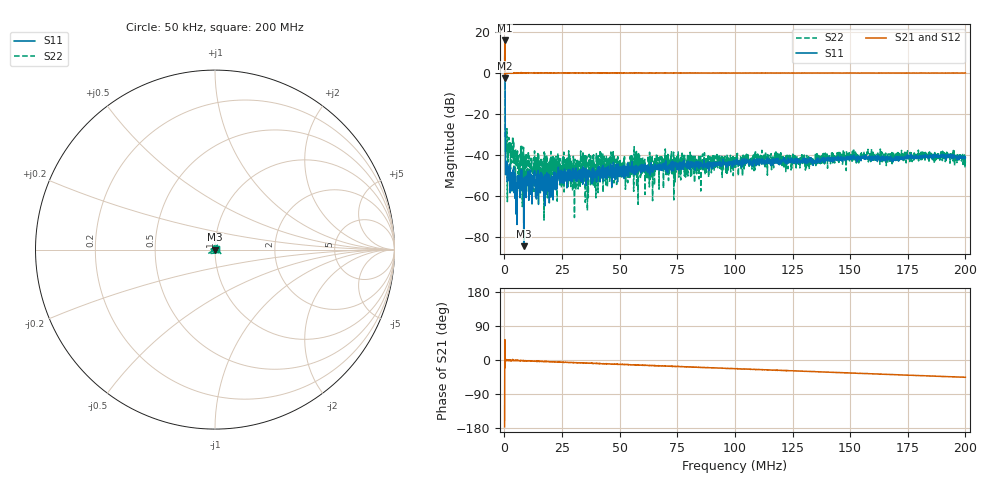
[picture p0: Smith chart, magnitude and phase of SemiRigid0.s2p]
! 19-Feb-26 1:38:01 PM
! E:\VNA_MEASUREMENTS\RECBLOCK\SEMIRIGID0.S2P
! CHANNEL.1
! TR.MEASUREMENT
! CORRECTED.DATA
# GHZ S RI R 50.0
! FREQ.GHZ  S11RE  S11IM  S21RE  S21IM  S12RE  S12IM  S22RE  S22IM
!; PortSelection: Port_12
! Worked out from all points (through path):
!   2000 points, 50 kHz to 200 MHz, reference 50 ohm
!   highest |S21| = 15.81 dB at 150 kHz (marker M1); lowest = -2.7 dB at 50 kHz (marker M2)
!   lowest |S11| = -84.4 dB at 8.352 MHz (marker M3), VSWR 1.00, Z = 50 - j0.00572 ohm
!   |S11| at or under -10 dB: 281.7 kHz to end of sweep
!   |S22| runs from -71.7 to 12.6 dB; largest |S21 - S12| = 5.8
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5e-05  -0.9372 1.019  -0.7347 -0.046  0.0916 -0.5591  -0.2835 -1.33
0.000150025  -0.9212 1.055  3.633 4.988  0.0489 0.435  0.2589 4.237
0.001150275  0.00344 0.00102  1.02 0.00988  0.9993 -0.00268  0.0129 0.0103
0.0012503  3.05e-05 -0.00224  1.001 -0.00636  0.9995 -0.0125  0.00054 -0.000502
0.00145035  0.000453 -0.00256  1.001 -0.0181  0.9984 -0.0107  0.000149 -0.0086
0.005551376  0.000923 -0.000779  0.9922 -0.0279  0.9954 -0.0267  -0.00537 -0.000314
0.006651651  0.000641 0.00127  0.9932 -0.0373  0.9999 -0.0283  -0.00561 -0.00339
0.008352076  -2e-05 -5.72e-05  0.9916 -0.0294  0.9961 -0.036  -0.00106 0.00647
0.02755688  0.0021 0.00124  0.9862 -0.1104  0.9929 -0.1132  0.0046 0.00594
0.03185795  0.00181 0.0025  0.9878 -0.1312  0.9883 -0.129  0.00191 0.00524
0.03345835  0.000715 0.00263  0.9926 -0.1275  0.99 -0.1336  0.00266 -0.00188
0.03475868  0.0023 0.00363  0.9943 -0.1431  0.9875 -0.1378  -0.00226 0.00369
0.0356589  0.00272 0.00258  0.983 -0.129  0.9871 -0.1445  0.00845 -0.00422
0.0416604  0.00136 0.00348  0.9892 -0.1677  0.9825 -0.1646  -0.000921 0.004
0.05326331  0.00302 0.00217  0.9743 -0.1987  0.9765 -0.213  -0.00402 -0.000941
0.05456363  0.00356 0.0036  0.979 -0.2204  0.9714 -0.2184  0.00371 0.00842
0.06456613  0.00375 0.0031  0.9597 -0.2471  0.9651 -0.2513  -0.00273 0.00267
0.06676668  0.00321 0.00437  0.9633 -0.2707  0.9635 -0.2666  0.00791 0.00319
0.100075  0.00392 0.0047  0.9157 -0.3924  0.9163 -0.3886  0.00244 0.00535
0.1333833  0.00551 0.00418  0.8584 -0.5058  0.8581 -0.506  0.00716 0.00472
0.1666917  0.00655 0.00546  0.7868 -0.6157  0.7798 -0.6128  0.00916 0.00269
0.2  0.00774 0.00389  0.7 -0.7121  0.6924 -0.7069  0.00516 0.00315
